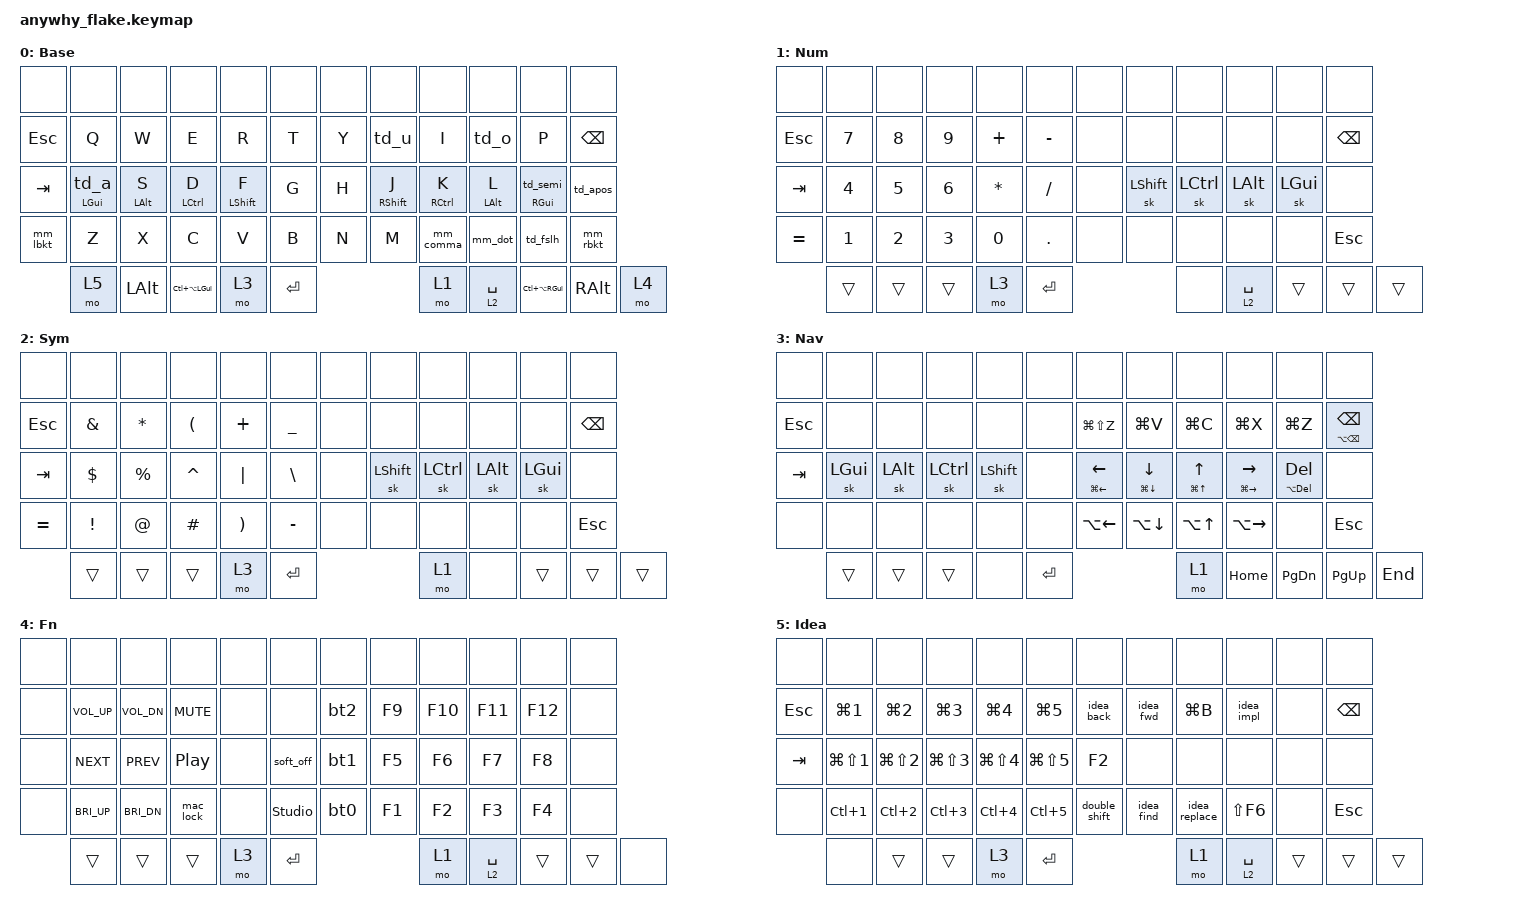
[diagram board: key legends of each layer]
//
//                 ╭───────────────────────────────────────────────────────────╮
//                 │       █████╗ ███╗   ██╗██╗   ██╗██╗    ██╗██╗  ██╗██╗   ██╗│
//                 │      ██╔══██╗████╗  ██║╚██╗ ██╔╝██║    ██║██║  ██║╚██╗ ██╔╝│
//                 │      ███████║██╔██╗ ██║ ╚████╔╝ ██║ █╗ ██║███████║ ╚████╔╝ │
//                 │      ██╔══██║██║╚██╗██║  ╚██╔╝  ██║███╗██║██╔══██║  ╚██╔╝  │
//                 │      ██║  ██║██║ ╚████║   ██║   ╚███╔███╔╝██║  ██║   ██║   │
//                 │      ╚═╝  ╚═╝╚═╝  ╚═══╝   ╚═╝    ╚══╝╚══╝ ╚═╝  ╚═╝   ╚═╝   │
//                 │                      F L A K E   M                         │
//                 ╰───────────────────────────────────────────────────────────╯
//
// ▄▄▄▄▄▄▄▄▄▄▄▄▄▄▄▄▄▄▄▄▄▄▄▄▄▄▄▄▄▄▄▄▄▄▄▄▄▄▄▄▄▄▄▄▄▄▄▄▄▄▄▄▄▄▄▄▄▄▄▄▄▄▄▄▄▄▄▄▄▄▄▄▄▄▄▄▄▄▄▄▄▄▄▄▄▄▄▄▄▄▄▄▄▄▄▄▄▄▄▄▄▄▄▄▄▄▄▄▄▄▄▄▄▄▄
//
//   Keymap uses Flake L format (58 bindings) for compatibility.
//   On Flake M hardware (46 keys), Row 0 is not physically present - those bindings are ignored.
//
//   ┏━━━━━━━┳━━━━━━━┳━━━━━━━┳━━━━━━━┳━━━━━━━┳━━━━━━━┓             ┏━━━━━━━┳━━━━━━━┳━━━━━━━┳━━━━━━━┳━━━━━━━┳━━━━━━━┓
//   ┃   0   ┃   1   ┃   2   ┃   3   ┃   4   ┃   5   ┃             ┃   6   ┃   7   ┃   8   ┃   9   ┃  10   ┃  11   ┃  <- Row 0 (L only)
//   ┣━━━━━━━╋━━━━━━━╋━━━━━━━╋━━━━━━━╋━━━━━━━╋━━━━━━━┫             ┣━━━━━━━╋━━━━━━━╋━━━━━━━╋━━━━━━━╋━━━━━━━╋━━━━━━━┫
//   ┃  12   ┃  13   ┃  14   ┃  15   ┃  16   ┃  17   ┃             ┃  18   ┃  19   ┃  20   ┃  21   ┃  22   ┃  23   ┃  <- Row 1 (M top row)
//   ┣━━━━━━━╋━━━━━━━╋━━━━━━━╋━━━━━━━╋━━━━━━━╋━━━━━━━┫             ┣━━━━━━━╋━━━━━━━╋━━━━━━━╋━━━━━━━╋━━━━━━━╋━━━━━━━┫
//   ┃  24   ┃  25   ┃  26   ┃  27   ┃  28   ┃  29   ┃             ┃  30   ┃  31   ┃  32   ┃  33   ┃  34   ┃  35   ┃
//   ┣━━━━━━━╋━━━━━━━╋━━━━━━━╋━━━━━━━╋━━━━━━━╋━━━━━━━┫             ┣━━━━━━━╋━━━━━━━╋━━━━━━━╋━━━━━━━╋━━━━━━━╋━━━━━━━┫
//   ┃  36   ┃  37   ┃  38   ┃  39   ┃  40   ┃  41   ┃             ┃  42   ┃  43   ┃  44   ┃  45   ┃  46   ┃  47   ┃
//   ┗━━━━━━━┻━━━━━━━╋━━━━━━━╋━━━━━━━╋━━━━━━━╋━━━━━━━╋━━━━━━━┓ ┏━━━━━━━╋━━━━━━━╋━━━━━━━╋━━━━━━━╋━━━━━━━╋━━━━━━━┻━━━━━━━┛
//                   ┃  48   ┃  49   ┃  50   ┃  51   ┃  52   ┃ ┃  53   ┃  54   ┃  55   ┃  56   ┃  57   ┃
//                   ┗━━━━━━━┻━━━━━━━┻━━━━━━━┻━━━━━━━┻━━━━━━━┛ ┗━━━━━━━┻━━━━━━━┻━━━━━━━┻━━━━━━━┻━━━━━━━┛
//
// ▄▄▄▄▄▄▄▄▄▄▄▄▄▄▄▄▄▄▄▄▄▄▄▄▄▄▄▄▄▄▄▄▄▄▄▄▄▄▄▄▄▄▄▄▄▄▄▄▄▄▄▄▄▄▄▄▄▄▄▄▄▄▄▄▄▄▄▄▄▄▄▄▄▄▄▄▄▄▄▄▄▄▄▄▄▄▄▄▄▄▄▄▄▄▄▄▄▄▄▄▄▄▄▄▄▄▄▄▄▄▄▄▄▄▄

#include <behaviors.dtsi>
#include <dt-bindings/zmk/bt.h>
#include <dt-bindings/zmk/keys.h>

// ─────────────────────────────────────────────────────────────────────────────
// Configuration
// ─────────────────────────────────────────────────────────────────────────────
#define TAP_DANCE_TERM 180
#define QUICK_TAP_MS 175

// Key position groups for HRM (Flake L format, 58 keys)
// Row 0: 0-11 (L only), Row 1: 12-23, Row 2: 24-35, Row 3: 36-47, Thumbs: 48-57
#define KEYS_L 12 13 14 15 16 17 24 25 26 27 28 29 36 37 38 39 40 41
#define KEYS_R 18 19 20 21 22 23 30 31 32 33 34 35 42 43 44 45 46 47
#define THUMBS 48 49 50 51 52 53 54 55 56 57

// ▄▄▄▄▄▄▄▄▄▄▄▄▄▄▄▄▄▄▄▄▄▄▄▄▄▄▄▄▄▄▄▄▄▄▄▄▄▄▄▄▄▄▄▄▄▄▄▄▄▄▄▄▄▄▄▄▄▄▄▄▄▄▄▄▄▄▄▄▄▄▄▄▄▄▄▄▄▄▄▄▄▄▄▄▄▄▄▄▄▄▄▄▄▄▄▄▄▄▄▄▄▄▄▄▄▄▄▄▄▄▄▄▄▄▄
//
//   Tap-Dance Behaviors (double-tap for alternate):
//     - a → ä    - o → ö    - u → ü   (German umlauts via dead key: Option+U then vowel, works on standard U.S. layout)
//     - ; → :    - ' → "    - - → ~
//     - / → ?    - , → <    - . → >
//     - [ → {    - ] → }
//
// ▄▄▄▄▄▄▄▄▄▄▄▄▄▄▄▄▄▄▄▄▄▄▄▄▄▄▄▄▄▄▄▄▄▄▄▄▄▄▄▄▄▄▄▄▄▄▄▄▄▄▄▄▄▄▄▄▄▄▄▄▄▄▄▄▄▄▄▄▄▄▄▄▄▄▄▄▄▄▄▄▄▄▄▄▄▄▄▄▄▄▄▄▄▄▄▄▄▄▄▄▄▄▄▄▄▄▄▄▄▄▄▄▄▄▄

/ {
    behaviors {
        // ─────────────────────────────────────────────────────────────────────────────
        // Home Row Mods - urob's "timeless" configuration
        // Left hand: triggers on right hand keys + thumbs
        // Right hand: triggers on left hand keys + thumbs
        //
        // TUNING GUIDE:
        // ┌─────────────────────────┬────────────────────────────────────────────────┐
        // │ Problem                 │ Solution                                       │
        // ├─────────────────────────┼────────────────────────────────────────────────┤
        // │ Accidental holds when   │ Increase require-prior-idle-ms (e.g., 175)    │
        // │ typing fast             │ or increase tapping-term-ms (e.g., 300)       │
        // ├─────────────────────────┼────────────────────────────────────────────────┤
        // │ Hard to trigger holds   │ Decrease tapping-term-ms (e.g., 250)          │
        // │ (mod doesn't activate)  │ or decrease require-prior-idle-ms (e.g., 100) │
        // ├─────────────────────────┼────────────────────────────────────────────────┤
        // │ Same-hand combos fail   │ Add problem key positions to                  │
        // │ (e.g., Ctrl+S)          │ hold-trigger-key-positions                    │
        // ├─────────────────────────┼────────────────────────────────────────────────┤
        // │ Double-tap repeat slow  │ Decrease quick-tap-ms (e.g., 150)             │
        // ├─────────────────────────┼────────────────────────────────────────────────┤
        // │ Rolls trigger holds     │ Remove hold-trigger-on-release                │
        // │ (typing "sd" = Ctrl+D)  │ (but this makes intentional holds harder)     │
        // └─────────────────────────┴────────────────────────────────────────────────┘
        //
        // Current values (urob's timeless defaults):
        //   tapping-term-ms = 280    - Time to hold before mod activates
        //   quick-tap-ms = 175       - Window for double-tap to repeat key
        //   require-prior-idle-ms = 150 - Ignore hold if typed recently (anti-misfires)
        // ─────────────────────────────────────────────────────────────────────────────
        hml: home_row_mod_left {
            compatible = "zmk,behavior-hold-tap";
            #binding-cells = <2>;
            flavor = "balanced";
            tapping-term-ms = <280>;
            quick-tap-ms = <QUICK_TAP_MS>;
            require-prior-idle-ms = <150>;
            bindings = <&kp>, <&kp>;
            hold-trigger-key-positions = <KEYS_R THUMBS>;
            hold-trigger-on-release;
        };

        hmr: home_row_mod_right {
            compatible = "zmk,behavior-hold-tap";
            #binding-cells = <2>;
            flavor = "balanced";
            tapping-term-ms = <280>;
            quick-tap-ms = <QUICK_TAP_MS>;
            require-prior-idle-ms = <150>;
            bindings = <&kp>, <&kp>;
            hold-trigger-key-positions = <KEYS_L THUMBS>;
            hold-trigger-on-release;
        };

        // HRM variants for tap-dance keys (A→ä on left, ;→: on right)
        // Uses #binding-cells = <2>: first param for &kp (hold mod), second is ignored (tap-dance takes 0 params)
        // Usage: &hml_td_a LGUI 0  (the 0 is a dummy parameter)
        hml_td_a: home_row_mod_left_td_a {
            compatible = "zmk,behavior-hold-tap";
            #binding-cells = <2>;
            flavor = "balanced";
            tapping-term-ms = <280>;
            quick-tap-ms = <QUICK_TAP_MS>;
            require-prior-idle-ms = <150>;
            bindings = <&kp>, <&td_a>;
            hold-trigger-key-positions = <KEYS_R THUMBS>;
            hold-trigger-on-release;
        };

        hmr_td_semi: home_row_mod_right_td_semi {
            compatible = "zmk,behavior-hold-tap";
            #binding-cells = <2>;
            flavor = "balanced";
            tapping-term-ms = <280>;
            quick-tap-ms = <QUICK_TAP_MS>;
            require-prior-idle-ms = <150>;
            bindings = <&kp>, <&td_semi>;
            hold-trigger-key-positions = <KEYS_L THUMBS>;
            hold-trigger-on-release;
        };

        // ─────────────────────────────────────────────────────────────────────────────
        // NAV Layer Hold-Tap Behaviors
        // Tap = arrow key, Hold = extended navigation
        // macOS: Cmd+Left/Right = Home/End of line, Cmd+Up/Down = Begin/End of document
        //        Alt+Backspace = Delete word backward, Alt+Delete (Fn+Backspace) = Delete word forward
        // ─────────────────────────────────────────────────────────────────────────────
        nav_left: nav_arrow_left {
            compatible = "zmk,behavior-hold-tap";
            #binding-cells = <2>;
            flavor = "balanced";
            tapping-term-ms = <200>;
            quick-tap-ms = <QUICK_TAP_MS>;
            bindings = <&kp>, <&kp>;
        };

        nav_right: nav_arrow_right {
            compatible = "zmk,behavior-hold-tap";
            #binding-cells = <2>;
            flavor = "balanced";
            tapping-term-ms = <200>;
            quick-tap-ms = <QUICK_TAP_MS>;
            bindings = <&kp>, <&kp>;
        };

        nav_up: nav_arrow_up {
            compatible = "zmk,behavior-hold-tap";
            #binding-cells = <2>;
            flavor = "balanced";
            tapping-term-ms = <200>;
            quick-tap-ms = <QUICK_TAP_MS>;
            bindings = <&kp>, <&kp>;
        };

        nav_down: nav_arrow_down {
            compatible = "zmk,behavior-hold-tap";
            #binding-cells = <2>;
            flavor = "balanced";
            tapping-term-ms = <200>;
            quick-tap-ms = <QUICK_TAP_MS>;
            bindings = <&kp>, <&kp>;
        };

        nav_bspc: nav_backspace {
            compatible = "zmk,behavior-hold-tap";
            #binding-cells = <2>;
            flavor = "balanced";
            tapping-term-ms = <200>;
            quick-tap-ms = <QUICK_TAP_MS>;
            bindings = <&kp>, <&kp>;
        };

        nav_del: nav_delete {
            compatible = "zmk,behavior-hold-tap";
            #binding-cells = <2>;
            flavor = "balanced";
            tapping-term-ms = <200>;
            quick-tap-ms = <QUICK_TAP_MS>;
            bindings = <&kp>, <&kp>;
        };
    };

    combos {
        compatible = "zmk,combos";

        bt_sel_3 {
            bindings = <&bt3>;
            key-positions = <42 30>;
            layers = <4>;
        };

        bt_sel_4 {
            bindings = <&bt4>;
            key-positions = <30 18>;
            layers = <4>;
        };

        // ─────────────────────────────────────────────────────────────────────────────
        // Vertical Combos - Symbols (urob style)
        // Press two vertically adjacent keys simultaneously
        //
        // Key positions (Flake L format):
        //   Row 1 (top):    13=Q  14=W  15=E  16=R  17=T  |  18=Y  19=U  20=I  21=O  22=P
        //   Row 2 (home):   25=A  26=S  27=D  28=F  29=G  |  30=H  31=J  32=K  33=L  34=;
        //   Row 3 (bottom): 37=Z  38=X  39=C  40=V  41=B  |  42=N  43=M  44=,  45=.  46=/
        //
        // Combo timing: 30ms term, 50ms idle (slower than horizontal for reliability)
        // ─────────────────────────────────────────────────────────────────────────────

        // ESC combo (bottom right corner)
        combo_esc {  // / + ] -> ESC
            bindings = <&kp ESC>;
            key-positions = <46 47>;
            timeout-ms = <30>;
            require-prior-idle-ms = <50>;
        };

        // Enter combos (home row horizontal)
        combo_enter_right {  // J+K+L -> Enter
            bindings = <&kp ENTER>;
            key-positions = <31 32 33>;
            timeout-ms = <30>;
            require-prior-idle-ms = <50>;
        };
        combo_enter_left {  // S+D+F -> Enter
            bindings = <&kp ENTER>;
            key-positions = <26 27 28>;
            timeout-ms = <30>;
            require-prior-idle-ms = <50>;
        };

        // Left hand: Top + Home row
        combo_excl {  // Q+A -> !
            bindings = <&kp EXCL>;
            key-positions = <13 25>;
            timeout-ms = <30>;
            require-prior-idle-ms = <50>;
            layers = <0 1 3>;
        };
        combo_at {  // W+S -> @
            bindings = <&kp AT>;
            key-positions = <14 26>;
            timeout-ms = <30>;
            require-prior-idle-ms = <50>;
            layers = <0 1 3>;
        };
        combo_hash {  // E+D -> #
            bindings = <&kp HASH>;
            key-positions = <15 27>;
            timeout-ms = <30>;
            require-prior-idle-ms = <50>;
            layers = <0 1 3>;
        };
        combo_dllr {  // R+F -> $
            bindings = <&kp DLLR>;
            key-positions = <16 28>;
            timeout-ms = <30>;
            require-prior-idle-ms = <50>;
            layers = <0 1 3>;
        };
        combo_prcnt {  // T+G -> %
            bindings = <&kp PRCNT>;
            key-positions = <17 29>;
            timeout-ms = <30>;
            require-prior-idle-ms = <50>;
            layers = <0 1 3>;
        };

        // Left hand: Home + Bottom row
        combo_grave {  // A+Z -> `
            bindings = <&kp GRAVE>;
            key-positions = <25 37>;
            timeout-ms = <30>;
            require-prior-idle-ms = <50>;
            layers = <0 1 3>;
        };
        combo_bslh {  // S+X -> backslash
            bindings = <&kp BSLH>;
            key-positions = <26 38>;
            timeout-ms = <30>;
            require-prior-idle-ms = <50>;
            layers = <0 1 3>;
        };
        combo_equal {  // D+C -> =
            bindings = <&kp EQUAL>;
            key-positions = <27 39>;
            timeout-ms = <30>;
            require-prior-idle-ms = <50>;
            layers = <0 1 3>;
        };
        combo_tilde {  // F+V -> ~
            bindings = <&kp TILDE>;
            key-positions = <28 40>;
            timeout-ms = <30>;
            require-prior-idle-ms = <50>;
            layers = <0 1 3>;
        };

        // Right hand: Top + Home row
        combo_caret {  // Y+H -> ^
            bindings = <&kp CARET>;
            key-positions = <18 30>;
            timeout-ms = <30>;
            require-prior-idle-ms = <50>;
            layers = <0 1 3>;
        };
        combo_plus {  // U+J -> +
            bindings = <&kp PLUS>;
            key-positions = <19 31>;
            timeout-ms = <30>;
            require-prior-idle-ms = <50>;
            layers = <0 1 3>;
        };
        combo_star {  // I+K -> *
            bindings = <&kp STAR>;
            key-positions = <20 32>;
            timeout-ms = <30>;
            require-prior-idle-ms = <50>;
            layers = <0 1 3>;
        };
        combo_amps {  // O+L -> &
            bindings = <&kp AMPS>;
            key-positions = <21 33>;
            timeout-ms = <30>;
            require-prior-idle-ms = <50>;
            layers = <0 1 3>;
        };

        // Right hand: Home + Bottom row
        combo_under {  // H+N -> _
            bindings = <&kp UNDER>;
            key-positions = <30 42>;
            timeout-ms = <30>;
            require-prior-idle-ms = <50>;
            layers = <0 1 3>;
        };
        combo_minus {  // J+M -> -
            bindings = <&kp MINUS>;
            key-positions = <31 43>;
            timeout-ms = <30>;
            require-prior-idle-ms = <50>;
            layers = <0 1 3>;
        };
        combo_fslh {  // K+, -> /
            bindings = <&kp FSLH>;
            key-positions = <32 44>;
            timeout-ms = <30>;
            require-prior-idle-ms = <50>;
            layers = <0 1 3>;
        };
        combo_pipe {  // L+. -> |
            bindings = <&kp PIPE>;
            key-positions = <33 45>;
            timeout-ms = <30>;
            require-prior-idle-ms = <50>;
            layers = <0 1 3>;
        };
    };

    macros {
        // German Umlauts via dead key sequences (works on standard ABC Mac keyboard layout)
        // Option+U produces dead umlaut (¨), then press the vowel
        umlaut_a: umlaut_a {
            compatible = "zmk,behavior-macro";
            #binding-cells = <0>;
            wait-ms = <20>;
            tap-ms = <20>;
            bindings = <&kp LA(U) &kp A>;
            label = "UMLAUT_A";
        };

        umlaut_o: umlaut_o {
            compatible = "zmk,behavior-macro";
            #binding-cells = <0>;
            wait-ms = <20>;
            tap-ms = <20>;
            bindings = <&kp LA(U) &kp O>;
            label = "UMLAUT_O";
        };

        umlaut_u: umlaut_u {
            compatible = "zmk,behavior-macro";
            #binding-cells = <0>;
            wait-ms = <20>;
            tap-ms = <20>;
            bindings = <&kp LA(U) &kp U>;
            label = "UMLAUT_U";
        };

        bt_clr_0: bt_clr_0 {
            compatible = "zmk,behavior-macro";
            #binding-cells = <0>;
            bindings = <&bt BT_SEL 0 &bt BT_CLR>;
            label = "BT_CLR_0";
        };

        bt_clr_1: bt_clr_1 {
            compatible = "zmk,behavior-macro";
            #binding-cells = <0>;
            bindings = <&bt BT_SEL 1 &bt BT_CLR>;
            label = "BT_CLR_1";
        };

        bt_clr_2: bt_clr_2 {
            compatible = "zmk,behavior-macro";
            #binding-cells = <0>;
            bindings = <&bt BT_SEL 2 &bt BT_CLR>;
            label = "BT_CLR_2";
        };

        bt_clr_3: bt_clr_3 {
            compatible = "zmk,behavior-macro";
            #binding-cells = <0>;
            bindings = <&bt BT_SEL 3 &bt BT_CLR>;
            label = "BT_CLR_3";
        };

        bt_clr_4: bt_clr_4 {
            compatible = "zmk,behavior-macro";
            #binding-cells = <0>;
            bindings = <&bt BT_SEL 4 &bt BT_CLR>;
            label = "BT_CLR_4";
        };

        // ─────────────────────────────────────────────────────────────────────────────
        // Macros for IntelliJ (Idea layer)
        // ─────────────────────────────────────────────────────────────────────────────

        // Double-Shift (Search Everywhere in IntelliJ)
        double_shift: double_shift {
            compatible = "zmk,behavior-macro";
            #binding-cells = <0>;
            bindings = <&kp LSHFT &kp LSHFT>;
            label = "DOUBLE_SHIFT";
        };

        // CMD+SHIFT+F (Find in Files)
        idea_find: idea_find {
            compatible = "zmk,behavior-macro";
            #binding-cells = <0>;
            bindings = <&kp LG(LS(F))>;
            label = "IDEA_FIND";
        };

        // CMD+SHIFT+R (Replace in Files)
        idea_replace: idea_replace {
            compatible = "zmk,behavior-macro";
            #binding-cells = <0>;
            bindings = <&kp LG(LS(R))>;
            label = "IDEA_REPLACE";
        };

        // OPT+CMD+← (Navigate Back)
        idea_back: idea_back {
            compatible = "zmk,behavior-macro";
            #binding-cells = <0>;
            bindings = <&kp LA(LG(LEFT))>;
            label = "IDEA_BACK";
        };

        // OPT+CMD+→ (Navigate Forward)
        idea_fwd: idea_fwd {
            compatible = "zmk,behavior-macro";
            #binding-cells = <0>;
            bindings = <&kp LA(LG(RIGHT))>;
            label = "IDEA_FWD";
        };

        // CMD+SHIFT+B (Go to Implementation)
        idea_impl: idea_impl {
            compatible = "zmk,behavior-macro";
            #binding-cells = <0>;
            bindings = <&kp LG(LS(B))>;
            label = "IDEA_IMPL";
        };

        // ─────────────────────────────────────────────────────────────────────────────
        // Macros for FN layer (Lock screen)
        // ─────────────────────────────────────────────────────────────────────────────

        // CMD+CTRL+Q (Lock Screen on macOS)
        mac_lock: mac_lock {
            compatible = "zmk,behavior-macro";
            #binding-cells = <0>;
            bindings = <&kp LG(LC(Q))>;
            label = "MAC_LOCK";
        };
    };

    behaviors {
        bt0: bt0 {
            compatible = "zmk,behavior-mod-morph";
            label = "BT0";
            bindings = <&bt BT_SEL 0>, <&bt_clr_0>;
            #binding-cells = <0>;
            mods = <(MOD_LSFT|MOD_RSFT)>;
        };

        bt1: bt1 {
            compatible = "zmk,behavior-mod-morph";
            label = "BT1";
            bindings = <&bt BT_SEL 1>, <&bt_clr_1>;
            #binding-cells = <0>;
            mods = <(MOD_LSFT|MOD_RSFT)>;
        };

        bt2: bt2 {
            compatible = "zmk,behavior-mod-morph";
            label = "BT2";
            bindings = <&bt BT_SEL 2>, <&bt_clr_2>;
            #binding-cells = <0>;
            mods = <(MOD_LSFT|MOD_RSFT)>;
        };

        bt3: bt3 {
            compatible = "zmk,behavior-mod-morph";
            label = "BT3";
            bindings = <&bt BT_SEL 3>, <&bt_clr_3>;
            #binding-cells = <0>;
            mods = <(MOD_LSFT|MOD_RSFT)>;
        };

        bt4: bt4 {
            compatible = "zmk,behavior-mod-morph";
            label = "BT4";
            bindings = <&bt BT_SEL 4>, <&bt_clr_4>;
            #binding-cells = <0>;
            mods = <(MOD_LSFT|MOD_RSFT)>;
        };

        // ─────────────────────────────────────────────────────────────────────────
        // Mod-Morph + Tap-Dance: Combined behaviors
        // - Tap = primary key
        // - Double-tap = secondary key (tap-dance)
        // - Shift+Tap = custom shifted key (mod-morph)
        // ─────────────────────────────────────────────────────────────────────────
        mm_lbkt: mm_lbkt {  // tap=[, double-tap={, shift+tap=(
            compatible = "zmk,behavior-mod-morph";
            label = "MM_LBKT";
            bindings = <&td_lbkt>, <&kp LPAR>;
            #binding-cells = <0>;
            mods = <(MOD_LSFT|MOD_RSFT)>;
        };

        mm_rbkt: mm_rbkt {  // tap=], double-tap=}, shift+tap=)
            compatible = "zmk,behavior-mod-morph";
            label = "MM_RBKT";
            bindings = <&td_rbkt>, <&kp RPAR>;
            #binding-cells = <0>;
            mods = <(MOD_LSFT|MOD_RSFT)>;
        };

        mm_comma: mm_comma {  // tap=,, double-tap=<, shift+tap=-
            compatible = "zmk,behavior-mod-morph";
            label = "MM_COMMA";
            bindings = <&td_comma>, <&kp MINUS>;
            #binding-cells = <0>;
            mods = <(MOD_LSFT|MOD_RSFT)>;
        };

        mm_dot: mm_dot {  // tap=., double-tap=>, shift+tap=_
            compatible = "zmk,behavior-mod-morph";
            label = "MM_DOT";
            bindings = <&td_dot>, <&kp UNDER>;
            #binding-cells = <0>;
            mods = <(MOD_LSFT|MOD_RSFT)>;
        };

        td_a: td_a {
            compatible = "zmk,behavior-tap-dance";
            #binding-cells = <0>;
            tapping-term-ms = <TAP_DANCE_TERM>;
            bindings = <&kp A>, <&umlaut_a>;
        };

        td_o: td_o {
            compatible = "zmk,behavior-tap-dance";
            #binding-cells = <0>;
            tapping-term-ms = <TAP_DANCE_TERM>;
            bindings = <&kp O>, <&umlaut_o>;
        };

        td_u: td_u {
            compatible = "zmk,behavior-tap-dance";
            #binding-cells = <0>;
            tapping-term-ms = <TAP_DANCE_TERM>;
            bindings = <&kp U>, <&umlaut_u>;
        };

        // ─────────────────────────────────────────────────────────────────────────
        // Tap-Dance: Punctuation (double-tap for shifted variant)
        // ─────────────────────────────────────────────────────────────────────────
        td_semi: td_semi {  // ; → :
            compatible = "zmk,behavior-tap-dance";
            #binding-cells = <0>;
            tapping-term-ms = <TAP_DANCE_TERM>;
            bindings = <&kp SEMI>, <&kp COLON>;
        };

        td_apos: td_apos {  // ' → "
            compatible = "zmk,behavior-tap-dance";
            #binding-cells = <0>;
            tapping-term-ms = <TAP_DANCE_TERM>;
            bindings = <&kp APOS>, <&kp DQT>;
        };

        td_minus: td_minus {  // - → ~
            compatible = "zmk,behavior-tap-dance";
            #binding-cells = <0>;
            tapping-term-ms = <TAP_DANCE_TERM>;
            bindings = <&kp MINUS>, <&kp TILDE>;
        };

        td_fslh: td_fslh {  // / → ?
            compatible = "zmk,behavior-tap-dance";
            #binding-cells = <0>;
            tapping-term-ms = <TAP_DANCE_TERM>;
            bindings = <&kp FSLH>, <&kp QMARK>;
        };

        td_comma: td_comma {  // , → <
            compatible = "zmk,behavior-tap-dance";
            #binding-cells = <0>;
            tapping-term-ms = <TAP_DANCE_TERM>;
            bindings = <&kp COMMA>, <&kp LT>;
        };

        td_dot: td_dot {  // . → >
            compatible = "zmk,behavior-tap-dance";
            #binding-cells = <0>;
            tapping-term-ms = <TAP_DANCE_TERM>;
            bindings = <&kp DOT>, <&kp GT>;
        };

        td_lbkt: td_lbkt {  // [ → {
            compatible = "zmk,behavior-tap-dance";
            #binding-cells = <0>;
            tapping-term-ms = <TAP_DANCE_TERM>;
            bindings = <&kp LBKT>, <&kp LBRC>;
        };

        td_rbkt: td_rbkt {  // ] → }
            compatible = "zmk,behavior-tap-dance";
            #binding-cells = <0>;
            tapping-term-ms = <TAP_DANCE_TERM>;
            bindings = <&kp RBKT>, <&kp RBRC>;
        };
    };

    keymap {
        compatible = "zmk,keymap";

        base {
// ┏━━━━━━━━━━━━━━━━━━━━━━━━━━━━━━━━━━━━━━━━━━━━━━━━━━━━━━━━━━━━━━━━━━━━━━━━━━━━━━━━━━━━━━━━━━━━━━━━━━━━━━━━━━━━━━━━━┓
            display-name = "Base";
// ┗━━━━━━━━━━━━━━━━━━━━━━━━━━━━━━━━━━━━━━━━━━━━━━━━━━━━━━━━━━━━━━━━━━━━━━━━━━━━━━━━━━━━━━━━━━━━━━━━━━━━━━━━━━━━━━━━━┛
//         ┏╍╍╍╍╍╍╍╍╍┳╍╍╍╍╍╍╍╍╍┳╍╍╍╍╍╍╍╍╍┳╍╍╍╍╍╍╍╍╍┳╍╍╍╍╍╍╍╍╍┳╍╍╍╍╍╍╍╍╍┓                     ┏╍╍╍╍╍╍╍╍╍┳╍╍╍╍╍╍╍╍╍┳╍╍╍╍╍╍╍╍╍┳╍╍╍╍╍╍╍╍╍┳╍╍╍╍╍╍╍╍╍┳╍╍╍╍╍╍╍╍╍┓
//         ┃ ------  ┃ ------  ┃ ------  ┃ ------  ┃ ------  ┃ ------  ┃                     ┃ ------  ┃ ------  ┃ ------  ┃ ------  ┃ ------  ┃ ------  ┃  <- Row 0: L only (not on M)
//         ┣━━━━━━━━━╋━━━━━━━━━╋━━━━━━━━━╋━━━━━━━━━╋━━━━━━━━━╋━━━━━━━━━┫                     ┣━━━━━━━━━╋━━━━━━━━━╋━━━━━━━━━╋━━━━━━━━━╋━━━━━━━━━╋━━━━━━━━━┫
//         ┃   ESC   ┃    Q    ┃    W    ┃    E    ┃    R    ┃    T    ┃                     ┃    Y    ┃   U/Ü   ┃    I    ┃   O/Ö   ┃    P    ┃  BSPC   ┃
//         ┣━━━━━━━━━╋━━━━━━━━━╋━━━━━━━━━╋━━━━━━━━━╋━━━━━━━━━╋━━━━━━━━━┫                     ┣━━━━━━━━━╋━━━━━━━━━╋━━━━━━━━━╋━━━━━━━━━╋━━━━━━━━━╋━━━━━━━━━┫
//         ┃   TAB   ┃   A/Ä   ┃    S    ┃    D    ┃    F    ┃    G    ┃                     ┃    H    ┃    J    ┃    K    ┃    L    ┃   ;/:   ┃   '/"   ┃
//         ┃         ┃   GUI   ┃   ALT   ┃  CTRL   ┃  SHIFT  ┃         ┃                     ┃         ┃  SHIFT  ┃  CTRL   ┃   ALT   ┃   GUI   ┃         ┃  <- HRM (Miryoku)
//         ┣━━━━━━━━━╋━━━━━━━━━╋━━━━━━━━━╋━━━━━━━━━╋━━━━━━━━━╋━━━━━━━━━┫                     ┣━━━━━━━━━╋━━━━━━━━━╋━━━━━━━━━╋━━━━━━━━━╋━━━━━━━━━╋━━━━━━━━━┫
//         ┃   [/(   ┃    Z    ┃    X    ┃    C    ┃    V    ┃    B    ┃                     ┃    N    ┃    M    ┃   ,/-   ┃   ./_   ┃   //??  ┃   ]/)   ┃
//         ┗━━━━━━━━━┻━━━━━━━━━╋━━━━━━━━━╋━━━━━━━━━╋━━━━━━━━━╋━━━━━━━━━╋━━━━━━━━━┓ ┏━━━━━━━━━╋━━━━━━━━━╋━━━━━━━━━╋━━━━━━━━━╋━━━━━━━━━╋━━━━━━━━━┻━━━━━━━━━┛
//                             ┃  Idea   ┃   ALT   ┃  HYPER  ┃   NAV   ┃  ENTER  ┃ ┃   NUM   ┃SPC/SYM  ┃  HYPER  ┃   ALT   ┃   FN    ┃
//                             ┗━━━━━━━━━┻━━━━━━━━━┻━━━━━━━━━┻━━━━━━━━━┻━━━━━━━━━┛ ┗━━━━━━━━━┻━━━━━━━━━┻━━━━━━━━━┻━━━━━━━━━┻━━━━━━━━━┛
//
//         Tap-Dance: a→ä, o→ö, u→ü, ;→:, '→", //→?  |  Mod-Morph (Shift): [→(, ]→), ,→-, .→_
            bindings = <
// ╷         ╷         ╷         ╷         ╷         ╷         ╷   ╷         ╷         ╷         ╷         ╷         ╷         ╷
&none       &none     &none     &none      &none      &none          &none    &none     &none      &none      &none      &none
&kp ESC     &kp Q     &kp W     &kp E      &kp R      &kp T          &kp Y    &td_u     &kp I      &td_o      &kp P      &kp BSPC
&kp TAB     &hml_td_a LGUI 0  &hml LALT S  &hml LCTRL D  &hml LSHFT F  &kp G    &kp H  &hmr RSHFT J  &hmr RCTRL K  &hmr LALT L  &hmr_td_semi RGUI 0  &td_apos
&mm_lbkt    &kp Z     &kp X     &kp C      &kp V      &kp B          &kp N    &kp M     &mm_comma  &mm_dot    &td_fslh   &mm_rbkt
            &mo 5     &kp LALT  &kp LC(LA(LGUI))   &mo 3  &kp ENTER          &mo 1    &lt 2 SPACE &kp LC(LA(RGUI))   &kp RALT   &mo 4
            >;
        };
// ▄▄▄▄▄▄▄▄▄▄▄▄▄▄▄▄▄▄▄▄▄▄▄▄▄▄▄▄▄▄▄▄▄▄▄▄▄▄▄▄▄▄▄▄▄▄▄▄▄▄▄▄▄▄▄▄▄▄▄▄▄▄▄▄▄▄▄▄▄▄▄▄▄▄▄▄▄▄▄▄▄▄▄▄▄▄▄▄▄▄▄▄▄▄▄▄▄▄▄▄▄▄▄▄▄▄▄▄▄▄▄▄▄▄▄

        num {
// ┏━━━━━━━━━━━━━━━━━━━━━━━━━━━━━━━━━━━━━━━━━━━━━━━━━━━━━━━━━━━━━━━━━━━━━━━━━━━━━━━━━━━━━━━━━━━━━━━━━━━━━━━━━━━━━━━━━┓
            display-name = "Num";
// ┗━━━━━━━━━━━━━━━━━━━━━━━━━━━━━━━━━━━━━━━━━━━━━━━━━━━━━━━━━━━━━━━━━━━━━━━━━━━━━━━━━━━━━━━━━━━━━━━━━━━━━━━━━━━━━━━━━┛
//         ┏╍╍╍╍╍╍╍╍╍┳╍╍╍╍╍╍╍╍╍┳╍╍╍╍╍╍╍╍╍┳╍╍╍╍╍╍╍╍╍┳╍╍╍╍╍╍╍╍╍┳╍╍╍╍╍╍╍╍╍┓                     ┏╍╍╍╍╍╍╍╍╍┳╍╍╍╍╍╍╍╍╍┳╍╍╍╍╍╍╍╍╍┳╍╍╍╍╍╍╍╍╍┳╍╍╍╍╍╍╍╍╍┳╍╍╍╍╍╍╍╍╍┓
//         ┃ ------  ┃ ------  ┃ ------  ┃ ------  ┃ ------  ┃ ------  ┃                     ┃ ------  ┃ ------  ┃ ------  ┃ ------  ┃ ------  ┃ ------  ┃  <- Row 0: L only (not on M)
//         ┣━━━━━━━━━╋━━━━━━━━━╋━━━━━━━━━╋━━━━━━━━━╋━━━━━━━━━╋━━━━━━━━━┫                     ┣━━━━━━━━━╋━━━━━━━━━╋━━━━━━━━━╋━━━━━━━━━╋━━━━━━━━━╋━━━━━━━━━┫
//         ┃   ESC   ┃    7    ┃    8    ┃    9    ┃    +    ┃    -    ┃                     ┃         ┃         ┃         ┃         ┃         ┃  BSPC   ┃
//         ┣━━━━━━━━━╋━━━━━━━━━╋━━━━━━━━━╋━━━━━━━━━╋━━━━━━━━━╋━━━━━━━━━┫                     ┣━━━━━━━━━╋━━━━━━━━━╋━━━━━━━━━╋━━━━━━━━━╋━━━━━━━━━╋━━━━━━━━━┫
//         ┃   TAB   ┃    4    ┃    5    ┃    6    ┃    *    ┃    /    ┃                     ┃         ┃ sk_SHFT ┃ sk_CTRL ┃ sk_ALT  ┃ sk_GUI  ┃         ┃
//         ┣━━━━━━━━━╋━━━━━━━━━╋━━━━━━━━━╋━━━━━━━━━╋━━━━━━━━━╋━━━━━━━━━┫                     ┣━━━━━━━━━╋━━━━━━━━━╋━━━━━━━━━╋━━━━━━━━━╋━━━━━━━━━╋━━━━━━━━━┫
//         ┃    =    ┃    1    ┃    2    ┃    3    ┃    0    ┃    .    ┃                     ┃         ┃         ┃         ┃         ┃         ┃   ESC   ┃
//         ┗━━━━━━━━━┻━━━━━━━━━╋━━━━━━━━━╋━━━━━━━━━╋━━━━━━━━━╋━━━━━━━━━╋━━━━━━━━━┓ ┏━━━━━━━━━╋━━━━━━━━━╋━━━━━━━━━╋━━━━━━━━━╋━━━━━━━━━╋━━━━━━━━━┻━━━━━━━━━┛
//                             ┃  Idea   ┃   ALT   ┃  HYPER  ┃   NAV   ┃  ENTER  ┃ ┃  ████   ┃SPC/SYM  ┃  HYPER  ┃   ALT   ┃   FN    ┃
//                             ┗━━━━━━━━━┻━━━━━━━━━┻━━━━━━━━━┻━━━━━━━━━┻━━━━━━━━━┛ ┗━━━━━━━━━┻━━━━━━━━━┻━━━━━━━━━┻━━━━━━━━━┻━━━━━━━━━┛
            bindings = <
// ╷         ╷         ╷         ╷         ╷         ╷         ╷   ╷         ╷         ╷         ╷         ╷         ╷         ╷
&none       &none     &none     &none      &none      &none          &none   &none      &none      &none     &none     &none
&kp ESC     &kp N7    &kp N8    &kp N9     &kp PLUS   &kp MINUS      &none   &none      &none      &none     &none     &kp BSPC
&kp TAB     &kp N4    &kp N5    &kp N6     &kp ASTRK  &kp FSLH       &none   &sk LSHFT  &sk LCTRL  &sk LALT  &sk LGUI  &none
&kp EQUAL   &kp N1    &kp N2    &kp N3     &kp N0     &kp DOT        &none   &none      &none      &none     &none     &kp ESC
            &trans    &trans    &trans     &mo 3  &kp ENTER          &none   &lt 2 SPACE &trans     &trans    &trans
            >;
        };

// ▄▄▄▄▄▄▄▄▄▄▄▄▄▄▄▄▄▄▄▄▄▄▄▄▄▄▄▄▄▄▄▄▄▄▄▄▄▄▄▄▄▄▄▄▄▄▄▄▄▄▄▄▄▄▄▄▄▄▄▄▄▄▄▄▄▄▄▄▄▄▄▄▄▄▄▄▄▄▄▄▄▄▄▄▄▄▄▄▄▄▄▄▄▄▄▄▄▄▄▄▄▄▄▄▄▄▄▄▄▄▄▄▄▄▄

        sym {
// ┏━━━━━━━━━━━━━━━━━━━━━━━━━━━━━━━━━━━━━━━━━━━━━━━━━━━━━━━━━━━━━━━━━━━━━━━━━━━━━━━━━━━━━━━━━━━━━━━━━━━━━━━━━━━━━━━━━┓
            display-name = "Sym";
// ┗━━━━━━━━━━━━━━━━━━━━━━━━━━━━━━━━━━━━━━━━━━━━━━━━━━━━━━━━━━━━━━━━━━━━━━━━━━━━━━━━━━━━━━━━━━━━━━━━━━━━━━━━━━━━━━━━━┛
//         ┏╍╍╍╍╍╍╍╍╍┳╍╍╍╍╍╍╍╍╍┳╍╍╍╍╍╍╍╍╍┳╍╍╍╍╍╍╍╍╍┳╍╍╍╍╍╍╍╍╍┳╍╍╍╍╍╍╍╍╍┓                     ┏╍╍╍╍╍╍╍╍╍┳╍╍╍╍╍╍╍╍╍┳╍╍╍╍╍╍╍╍╍┳╍╍╍╍╍╍╍╍╍┳╍╍╍╍╍╍╍╍╍┳╍╍╍╍╍╍╍╍╍┓
//         ┃ ------  ┃ ------  ┃ ------  ┃ ------  ┃ ------  ┃ ------  ┃                     ┃ ------  ┃ ------  ┃ ------  ┃ ------  ┃ ------  ┃ ------  ┃  <- Row 0: L only (not on M)
//         ┣━━━━━━━━━╋━━━━━━━━━╋━━━━━━━━━╋━━━━━━━━━╋━━━━━━━━━╋━━━━━━━━━┫                     ┣━━━━━━━━━╋━━━━━━━━━╋━━━━━━━━━╋━━━━━━━━━╋━━━━━━━━━╋━━━━━━━━━┫
//         ┃   ESC   ┃    &    ┃    *    ┃    (    ┃    +    ┃    _    ┃                     ┃         ┃         ┃         ┃         ┃         ┃  BSPC   ┃
//         ┣━━━━━━━━━╋━━━━━━━━━╋━━━━━━━━━╋━━━━━━━━━╋━━━━━━━━━╋━━━━━━━━━┫                     ┣━━━━━━━━━╋━━━━━━━━━╋━━━━━━━━━╋━━━━━━━━━╋━━━━━━━━━╋━━━━━━━━━┫
//         ┃   TAB   ┃    $    ┃    %    ┃    ^    ┃    |    ┃    \    ┃                     ┃         ┃ sk_SHFT ┃ sk_CTRL ┃ sk_ALT  ┃ sk_GUI  ┃         ┃
//         ┣━━━━━━━━━╋━━━━━━━━━╋━━━━━━━━━╋━━━━━━━━━╋━━━━━━━━━╋━━━━━━━━━┫                     ┣━━━━━━━━━╋━━━━━━━━━╋━━━━━━━━━╋━━━━━━━━━╋━━━━━━━━━╋━━━━━━━━━┫
//         ┃    =    ┃    !    ┃    @    ┃    #    ┃    )    ┃    -    ┃                     ┃         ┃         ┃         ┃         ┃         ┃   ESC   ┃
//         ┗━━━━━━━━━┻━━━━━━━━━╋━━━━━━━━━╋━━━━━━━━━╋━━━━━━━━━╋━━━━━━━━━╋━━━━━━━━━┓ ┏━━━━━━━━━╋━━━━━━━━━╋━━━━━━━━━╋━━━━━━━━━╋━━━━━━━━━╋━━━━━━━━━┻━━━━━━━━━┛
//                             ┃  Idea   ┃   ALT   ┃  HYPER  ┃   NAV   ┃  ENTER  ┃ ┃   NUM   ┃  ████   ┃  HYPER  ┃   ALT   ┃   FN    ┃
//                             ┗━━━━━━━━━┻━━━━━━━━━┻━━━━━━━━━┻━━━━━━━━━┻━━━━━━━━━┛ ┗━━━━━━━━━┻━━━━━━━━━┻━━━━━━━━━┻━━━━━━━━━┻━━━━━━━━━┛
//
//         Symbol layer mirrors Num layer with shifted equivalents (activated by holding SPACE)
            bindings = <
// ╷         ╷         ╷         ╷         ╷         ╷         ╷   ╷         ╷         ╷         ╷         ╷         ╷         ╷
&none       &none     &none     &none      &none      &none          &none    &none     &none      &none      &none      &none
&kp ESC     &kp AMPS  &kp ASTRK &kp LPAR   &kp PLUS   &kp UNDER      &none    &none     &none      &none      &none      &kp BSPC
&kp TAB     &kp DLLR  &kp PRCNT &kp CARET  &kp PIPE   &kp BSLH       &none    &sk LSHFT &sk LCTRL  &sk LALT   &sk LGUI   &none
&kp EQUAL   &kp EXCL  &kp AT    &kp HASH   &kp RPAR   &kp MINUS      &none    &none     &none      &none      &none      &kp ESC
            &trans    &trans    &trans     &mo 3  &kp ENTER          &mo 1    &none     &trans     &trans     &trans
            >;
        };

// ▄▄▄▄▄▄▄▄▄▄▄▄▄▄▄▄▄▄▄▄▄▄▄▄▄▄▄▄▄▄▄▄▄▄▄▄▄▄▄▄▄▄▄▄▄▄▄▄▄▄▄▄▄▄▄▄▄▄▄▄▄▄▄▄▄▄▄▄▄▄▄▄▄▄▄▄▄▄▄▄▄▄▄▄▄▄▄▄▄▄▄▄▄▄▄▄▄▄▄▄▄▄▄▄▄▄▄▄▄▄▄▄▄▄▄

        nav {
// ┏━━━━━━━━━━━━━━━━━━━━━━━━━━━━━━━━━━━━━━━━━━━━━━━━━━━━━━━━━━━━━━━━━━━━━━━━━━━━━━━━━━━━━━━━━━━━━━━━━━━━━━━━━━━━━━━━━┓
            display-name = "Nav";
// ┗━━━━━━━━━━━━━━━━━━━━━━━━━━━━━━━━━━━━━━━━━━━━━━━━━━━━━━━━━━━━━━━━━━━━━━━━━━━━━━━━━━━━━━━━━━━━━━━━━━━━━━━━━━━━━━━━━┛
//         ┏╍╍╍╍╍╍╍╍╍┳╍╍╍╍╍╍╍╍╍┳╍╍╍╍╍╍╍╍╍┳╍╍╍╍╍╍╍╍╍┳╍╍╍╍╍╍╍╍╍┳╍╍╍╍╍╍╍╍╍┓                     ┏╍╍╍╍╍╍╍╍╍┳╍╍╍╍╍╍╍╍╍┳╍╍╍╍╍╍╍╍╍┳╍╍╍╍╍╍╍╍╍┳╍╍╍╍╍╍╍╍╍┳╍╍╍╍╍╍╍╍╍┓
//         ┃ ------  ┃ ------  ┃ ------  ┃ ------  ┃ ------  ┃ ------  ┃                     ┃ ------  ┃ ------  ┃ ------  ┃ ------  ┃ ------  ┃ ------  ┃  <- Row 0: L only (not on M)
//         ┣━━━━━━━━━╋━━━━━━━━━╋━━━━━━━━━╋━━━━━━━━━╋━━━━━━━━━╋━━━━━━━━━┫                     ┣━━━━━━━━━╋━━━━━━━━━╋━━━━━━━━━╋━━━━━━━━━╋━━━━━━━━━╋━━━━━━━━━┫
//         ┃   ESC   ┃         ┃         ┃         ┃         ┃         ┃                     ┃  Redo   ┃  Paste  ┃  Copy   ┃   Cut   ┃  Undo   ┃BSPC/Wrd ┃
//         ┣━━━━━━━━━╋━━━━━━━━━╋━━━━━━━━━╋━━━━━━━━━╋━━━━━━━━━╋━━━━━━━━━┫                     ┣━━━━━━━━━╋━━━━━━━━━╋━━━━━━━━━╋━━━━━━━━━╋━━━━━━━━━╋━━━━━━━━━┫
//         ┃   TAB   ┃ sk_GUI  ┃ sk_ALT  ┃ sk_CTRL ┃ sk_SHFT ┃         ┃                     ┃  ←/Ln   ┃  ↓/Doc↓ ┃  ↑/Doc↑ ┃  →/Ln   ┃DEL/Wrd  ┃         ┃
//         ┣━━━━━━━━━╋━━━━━━━━━╋━━━━━━━━━╋━━━━━━━━━╋━━━━━━━━━╋━━━━━━━━━┫                     ┣━━━━━━━━━╋━━━━━━━━━╋━━━━━━━━━╋━━━━━━━━━╋━━━━━━━━━╋━━━━━━━━━┫
//         ┃         ┃         ┃         ┃         ┃         ┃         ┃                     ┃  ALT←   ┃  ALT↓   ┃  ALT↑   ┃   ALT→  ┃         ┃   ESC   ┃
//         ┗━━━━━━━━━┻━━━━━━━━━╋━━━━━━━━━╋━━━━━━━━━╋━━━━━━━━━╋━━━━━━━━━╋━━━━━━━━━┓ ┏━━━━━━━━━╋━━━━━━━━━╋━━━━━━━━━╋━━━━━━━━━╋━━━━━━━━━╋━━━━━━━━━┻━━━━━━━━━┛
//                             ┃  Idea   ┃   ALT   ┃  HYPER  ┃  ████   ┃  ENTER  ┃ ┃   NUM   ┃  HOME   ┃  PG_DN  ┃  PG_UP  ┃   END   ┃
//                             ┗━━━━━━━━━┻━━━━━━━━━┻━━━━━━━━━┻━━━━━━━━━┻━━━━━━━━━┛ ┗━━━━━━━━━┻━━━━━━━━━┻━━━━━━━━━┻━━━━━━━━━┻━━━━━━━━━┛
//
//Clipboard: macOS uses Cmd (LG) - Redo=Cmd+Shift+Z, Paste=Cmd+V, Copy=Cmd+C, Cut=Cmd+X, Undo=Cmd+Z
//         Arrows: Tap=arrow, Hold=extended navigation (←/→=line start/end, ↑/↓=doc start/end)
//         Delete: Tap=single char, Hold=worddelete (Backspace=Alt+Bspc, Delete=Alt+Del)
            bindings = <
// ╷           ╷         ╷         ╷          ╷          ╷         ╷   ╷                         ╷                          ╷                  ╷                            ╷                       ╷         ╷
&none        &none      &none      &none      &none      &none          &none                    &none                      &none              &none                        &none                   &none
&kp ESC      &none      &none      &none      &none      &none          &kp LG(LS(Z))            &kp LG(V)                  &kp LG(C)          &kp LG(X)                    &kp LG(Z)               &nav_bspc LA(BSPC) BSPC
&kp TAB      &sk LGUI   &sk LALT   &sk LCTRL  &sk LSHFT  &none          &nav_left LG(LEFT) LEFT  &nav_down LG(DOWN) DOWN    &nav_up LG(UP) UP  &nav_right LG(RIGHT) RIGHT   &nav_del LA(DEL) DEL    &none
&none        &none      &none      &none      &none      &none          &kp LA(LEFT)            &kp LA(DOWN)               &kp LA(UP)         &kp LA(RIGHT)                 &none                   &kp ESC
             &trans     &trans     &trans     &none  &kp ENTER          &mo 1                    &kp HOME                   &kp PG_DN          &kp PG_UP                    &kp END
            >;
        };

// ▄▄▄▄▄▄▄▄▄▄▄▄▄▄▄▄▄▄▄▄▄▄▄▄▄▄▄▄▄▄▄▄▄▄▄▄▄▄▄▄▄▄▄▄▄▄▄▄▄▄▄▄▄▄▄▄▄▄▄▄▄▄▄▄▄▄▄▄▄▄▄▄▄▄▄▄▄▄▄▄▄▄▄▄▄▄▄▄▄▄▄▄▄▄▄▄▄▄▄▄▄▄▄▄▄▄▄▄▄▄▄▄▄▄▄

        fn {
// ┏━━━━━━━━━━━━━━━━━━━━━━━━━━━━━━━━━━━━━━━━━━━━━━━━━━━━━━━━━━━━━━━━━━━━━━━━━━━━━━━━━━━━━━━━━━━━━━━━━━━━━━━━━━━━━━━━━┓
            display-name = "Fn";
// ┗━━━━━━━━━━━━━━━━━━━━━━━━━━━━━━━━━━━━━━━━━━━━━━━━━━━━━━━━━━━━━━━━━━━━━━━━━━━━━━━━━━━━━━━━━━━━━━━━━━━━━━━━━━━━━━━━━┛
//         ┏╍╍╍╍╍╍╍╍╍┳╍╍╍╍╍╍╍╍╍┳╍╍╍╍╍╍╍╍╍┳╍╍╍╍╍╍╍╍╍┳╍╍╍╍╍╍╍╍╍┳╍╍╍╍╍╍╍╍╍┓                     ┏╍╍╍╍╍╍╍╍╍┳╍╍╍╍╍╍╍╍╍┳╍╍╍╍╍╍╍╍╍┳╍╍╍╍╍╍╍╍╍┳╍╍╍╍╍╍╍╍╍┳╍╍╍╍╍╍╍╍╍┓
//         ┃ ------  ┃ ------  ┃ ------  ┃ ------  ┃ ------  ┃ ------  ┃                     ┃ ------  ┃ ------  ┃ ------  ┃ ------  ┃ ------  ┃ ------  ┃  <- Row 0: L only (not on M)
//         ┣━━━━━━━━━╋━━━━━━━━━╋━━━━━━━━━╋━━━━━━━━━╋━━━━━━━━━╋━━━━━━━━━┫                     ┣━━━━━━━━━╋━━━━━━━━━╋━━━━━━━━━╋━━━━━━━━━╋━━━━━━━━━╋━━━━━━━━━┫
//         ┃         ┃  Vol+   ┃  Vol-   ┃  Mute   ┃         ┃         ┃                     ┃   BT2   ┃   F9    ┃  F10    ┃  F11    ┃  F12    ┃         ┃
//         ┃         ┃         ┃         ┃         ┃         ┃         ┃                     ┃ Clr_BT2 ┃         ┃         ┃         ┃         ┃         ┃  <- shifted
//         ┣━━━━━━━━━╋━━━━━━━━━╋━━━━━━━━━╋━━━━━━━━━╋━━━━━━━━━╋━━━━━━━━━┫                     ┣━━━━━━━━━╋━━━━━━━━━╋━━━━━━━━━╋━━━━━━━━━╋━━━━━━━━━╋━━━━━━━━━┫
//         ┃         ┃  Next   ┃  Prev   ┃  Play   ┃         ┃ SOFTOFF ┃                     ┃   BT1   ┃   F5    ┃   F6    ┃   F7    ┃   F8    ┃         ┃
//         ┃         ┃         ┃         ┃         ┃         ┃         ┃                     ┃ Clr_BT1 ┃         ┃         ┃         ┃         ┃         ┃
//         ┣━━━━━━━━━╋━━━━━━━━━╋━━━━━━━━━╋━━━━━━━━━╋━━━━━━━━━╋━━━━━━━━━┫                     ┣━━━━━━━━━╋━━━━━━━━━╋━━━━━━━━━╋━━━━━━━━━╋━━━━━━━━━╋━━━━━━━━━┫
//         ┃         ┃  BRI+   ┃  BRI-   ┃  Lock   ┃         ┃ STUDIO  ┃                     ┃   BT0   ┃   F1    ┃   F2    ┃    F3   ┃   F4    ┃         ┃
//         ┃         ┃         ┃         ┃         ┃         ┃         ┃                     ┃ Clr_BT0 ┃         ┃         ┃         ┃         ┃         ┃
//         ┗━━━━━━━━━┻━━━━━━━━━╋━━━━━━━━━╋━━━━━━━━━╋━━━━━━━━━╋━━━━━━━━━╋━━━━━━━━━┓ ┏━━━━━━━━━╋━━━━━━━━━╋━━━━━━━━━╋━━━━━━━━━╋━━━━━━━━━╋━━━━━━━━━┻━━━━━━━━━┛
//                             ┃  Idea   ┃   ALT   ┃  HYPER  ┃   NAV   ┃  ENTER  ┃ ┃   NUM   ┃SPC/SYM  ┃  HYPER  ┃   ALT   ┃  ████   ┃
//                             ┗━━━━━━━━━┻━━━━━━━━━┻━━━━━━━━━┻━━━━━━━━━┻━━━━━━━━━┛ ┗━━━━━━━━━┻━━━━━━━━━┻━━━━━━━━━┻━━━━━━━━━┻━━━━━━━━━┛
//
//         BT0/1/2: Tap to select profile, Shift+Tap to clear
            bindings = <
// ╷           ╷              ╷              ╷           ╷         ╷                ╷   ╷         ╷         ╷         ╷         ╷         ╷         ╷
&none        &none          &none          &none        &none      &none                &none     &none      &none      &none      &none      &none
&none        &kp C_VOL_UP   &kp C_VOL_DN   &kp C_MUTE   &none      &none                &bt2      &kp F9     &kp F10    &kp F11    &kp F12    &none
&none        &kp C_NEXT     &kp C_PREV     &kp C_PP     &none      &soft_off            &bt1      &kp F5     &kp F6     &kp F7     &kp F8     &none
&none        &kp C_BRI_UP   &kp C_BRI_DN   &mac_lock    &none      &studio_unlock       &bt0      &kp F1     &kp F2     &kp F3     &kp F4     &none
             &trans         &trans         &trans       &mo 3  &kp ENTER            &mo 1     &lt 2 SPACE &trans     &trans     &none
            >;
        };

// ▄▄▄▄▄▄▄▄▄▄▄▄▄▄▄▄▄▄▄▄▄▄▄▄▄▄▄▄▄▄▄▄▄▄▄▄▄▄▄▄▄▄▄▄▄▄▄▄▄▄▄▄▄▄▄▄▄▄▄▄▄▄▄▄▄▄▄▄▄▄▄▄▄▄▄▄▄▄▄▄▄▄▄▄▄▄▄▄▄▄▄▄▄▄▄▄▄▄▄▄▄▄▄▄▄▄▄▄▄▄▄▄▄▄▄

        idea {
// ┏━━━━━━━━━━━━━━━━━━━━━━━━━━━━━━━━━━━━━━━━━━━━━━━━━━━━━━━━━━━━━━━━━━━━━━━━━━━━━━━━━━━━━━━━━━━━━━━━━━━━━━━━━━━━━━━━━┓
            display-name = "Idea";
// ┗━━━━━━━━━━━━━━━━━━━━━━━━━━━━━━━━━━━━━━━━━━━━━━━━━━━━━━━━━━━━━━━━━━━━━━━━━━━━━━━━━━━━━━━━━━━━━━━━━━━━━━━━━━━━━━━━━┛
//                                In-IntelliJ-Navigation                                                          In-IntelliJ-Edit/Nav
//         ┏╍╍╍╍╍╍╍╍╍┳╍╍╍╍╍╍╍╍╍┳╍╍╍╍╍╍╍╍╍┳╍╍╍╍╍╍╍╍╍┳╍╍╍╍╍╍╍╍╍┳╍╍╍╍╍╍╍╍╍┓                     ┏╍╍╍╍╍╍╍╍╍┳╍╍╍╍╍╍╍╍╍┳╍╍╍╍╍╍╍╍╍┳╍╍╍╍╍╍╍╍╍┳╍╍╍╍╍╍╍╍╍┳╍╍╍╍╍╍╍╍╍┓
//         ┃ ------  ┃ ------  ┃ ------  ┃ ------  ┃ ------  ┃ ------  ┃                     ┃ ------  ┃ ------  ┃ ------  ┃ ------  ┃ ------  ┃ ------  ┃
//         ┣━━━━━━━━━╋━━━━━━━━━╋━━━━━━━━━╋━━━━━━━━━╋━━━━━━━━━╋━━━━━━━━━┫                     ┣━━━━━━━━━╋━━━━━━━━━╋━━━━━━━━━╋━━━━━━━━━╋━━━━━━━━━╋━━━━━━━━━┫
//         ┃   ESC   ┃ CMD+1   ┃ CMD+2   ┃ CMD+3   ┃ CMD+4   ┃  CMD+5  ┃                     ┃OPT+CMD+←┃OPT+CMD+→┃ CMD+B   ┃CMD+Shift┃         ┃  BSPC   ┃
//         ┃         ┃         ┃         ┃         ┃         ┃         ┃                     ┃ go back ┃go forwd.┃         ┃   + B   ┃         ┃         ┃
//         ┣━━━━━━━━━╋━━━━━━━━━╋━━━━━━━━━╋━━━━━━━━━╋━━━━━━━━━╋━━━━━━━━━┫                     ┣━━━━━━━━━╋━━━━━━━━━╋━━━━━━━━━╋━━━━━━━━━╋━━━━━━━━━╋━━━━━━━━━┫
//         ┃   TAB   ┃ CMD+    ┃ CMD+    ┃ CMD+    ┃ CMD+    ┃ CMD+    ┃                     ┃  F2     ┃         ┃         ┃         ┃         ┃         ┃
//         ┃         ┃ Shift+1 ┃ Shift+2 ┃ Shift+3 ┃ Shift+4 ┃ Shift+5 ┃                     ┃ go err  ┃         ┃         ┃         ┃         ┃         ┃
//         ┣━━━━━━━━━╋━━━━━━━━━╋━━━━━━━━━╋━━━━━━━━━╋━━━━━━━━━╋━━━━━━━━━┫                     ┣━━━━━━━━━╋━━━━━━━━━╋━━━━━━━━━╋━━━━━━━━━╋━━━━━━━━━╋━━━━━━━━━┫
//         ┃         ┃ CTRL+1  ┃ CTRL+2  ┃ CTRL+3  ┃ CTRL+4  ┃ CTRL+5  ┃                     ┃ 2xShift ┃CMD+SHIFT┃CMD+SHIFT┃ SHIFT+F6┃         ┃  ESC    ┃
//         ┃         ┃         ┃         ┃         ┃         ┃         ┃                     ┃         ┃  +F     ┃  +R     ┃ Rename  ┃         ┃         ┃
//         ┗━━━━━━━━━┻━━━━━━━━━╋━━━━━━━━━╋━━━━━━━━━╋━━━━━━━━━╋━━━━━━━━━╋━━━━━━━━━┓ ┏━━━━━━━━━╋━━━━━━━━━╋━━━━━━━━━╋━━━━━━━━━╋━━━━━━━━━╋━━━━━━━━━┻━━━━━━━━━┛
//                             ┃  ████   ┃   ALT   ┃  HYPER  ┃   NAV   ┃  ENTER  ┃ ┃   NUM   ┃SPC/SYM  ┃  HYPER  ┃   ALT   ┃   FN    ┃
//                             ┗━━━━━━━━━┻━━━━━━━━━┻━━━━━━━━━┻━━━━━━━━━┻━━━━━━━━━┛ ┗━━━━━━━━━┻━━━━━━━━━┻━━━━━━━━━┻━━━━━━━━━┻━━━━━━━━━┛
//
//         IntelliJ shortcuts for macOS
            bindings = <
// ╷           ╷            ╷            ╷            ╷            ╷            ╷   ╷              ╷              ╷              ╷            ╷         ╷         ╷
&none        &none        &none        &none        &none        &none             &none          &none          &none          &none        &none      &none
&kp ESC      &kp LG(N1)   &kp LG(N2)   &kp LG(N3)   &kp LG(N4)   &kp LG(N5)        &idea_back     &idea_fwd      &kp LG(B)      &idea_impl   &none      &kp BSPC
&kp TAB      &kp LG(LS(N1)) &kp LG(LS(N2)) &kp LG(LS(N3)) &kp LG(LS(N4)) &kp LG(LS(N5))  &kp F2   &none          &none          &none        &none      &none
&none        &kp LC(N1)   &kp LC(N2)   &kp LC(N3)   &kp LC(N4)   &kp LC(N5)        &double_shift  &idea_find     &idea_replace  &kp LS(F6)   &none      &kp ESC
             &none        &trans       &trans       &mo 3    &kp ENTER             &mo 1          &lt 2 SPACE    &trans         &trans       &trans
            >;
        };

    };
};
